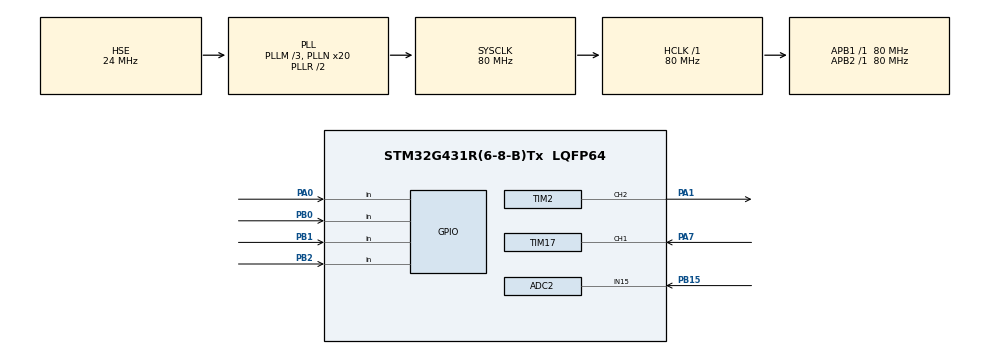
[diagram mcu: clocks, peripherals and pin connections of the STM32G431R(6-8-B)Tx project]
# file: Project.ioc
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ADC2.Channel-0\#ChannelRegularConversion=ADC_CHANNEL_15
ADC2.NbrOfConversionFlag=1
ADC2.OffsetNumber-0\#ChannelRegularConversion=ADC_OFFSET_NONE
ADC2.Rank-0\#ChannelRegularConversion=1
ADC2.SamplingTime-0\#ChannelRegularConversion=ADC_SAMPLETIME_2CYCLES_5
Mcu.Family=STM32G4
Mcu.Name=STM32G431R(6-8-B)Tx
Mcu.Package=LQFP64
NVIC.ADC1_2_IRQn=true\:0\:0\:false\:false\:true\:true\:true\:true
NVIC.PriorityGroup=NVIC_PRIORITYGROUP_4
NVIC.TIM1_TRG_COM_TIM17_IRQn=true\:0\:0\:false\:false\:true\:true\:true\:true
NVIC.TIM2_IRQn=true\:0\:0\:false\:false\:true\:true\:true\:true
NVIC.TIM6_DAC_IRQn=true\:15\:0\:true\:false\:true\:true\:true\:true
PA0.GPIO_Mode=GPIO_MODE_INPUT
PA0.GPIO_PuPd=GPIO_PULLUP
PA0.Signal=GPIO_Input
PA1.Signal=S_TIM2_CH2
PA13.Mode=Serial_Wire
PA13.Signal=SYS_JTMS-SWDIO
PA14.Mode=Serial_Wire
PA14.Signal=SYS_JTCK-SWCLK
PA7.Signal=S_TIM17_CH1
PB0.GPIO_Mode=GPIO_MODE_INPUT
PB0.GPIO_PuPd=GPIO_PULLUP
PB0.Signal=GPIO_Input
PB1.GPIO_Mode=GPIO_MODE_INPUT
PB1.GPIO_PuPd=GPIO_PULLUP
PB1.Signal=GPIO_Input
PB15.Mode=IN15-Single-Ended
PB15.Signal=ADC2_IN15
PB2.GPIO_Mode=GPIO_MODE_INPUT
PB2.GPIO_PuPd=GPIO_PULLUP
PB2.Signal=GPIO_Input
PF0-OSC_IN.Mode=HSE-External-Oscillator
PF0-OSC_IN.Signal=RCC_OSC_IN
PF1-OSC_OUT.Mode=HSE-External-Oscillator
PF1-OSC_OUT.Signal=RCC_OSC_OUT
ProjectManager.HeapSize=0x200
ProjectManager.StackSize=0x400
ProjectManager.TargetToolchain=MDK-ARM V5.32
RCC.ADC12Freq_Value=80000000
RCC.AHBFreq_Value=80000000
RCC.APB1Freq_Value=80000000
RCC.APB1TimFreq_Value=80000000
RCC.APB2Freq_Value=80000000
RCC.APB2TimFreq_Value=80000000
RCC.CortexFreq_Value=80000000
RCC.EXTERNAL_CLOCK_VALUE=12288000
RCC.HCLKFreq_Value=80000000
RCC.HSE_VALUE=24000000
RCC.HSI48_VALUE=48000000
RCC.HSI_VALUE=16000000
RCC.LSE_VALUE=32768
RCC.PLLM=RCC_PLLM_DIV3
RCC.PLLN=20
RCC.PLLSourceVirtual=RCC_PLLSOURCE_HSE
RCC.SYSCLKFreq_VALUE=80000000
RCC.SYSCLKSource=RCC_SYSCLKSOURCE_PLLCLK
RCC.USBFreq_Value=80000000
RCC.VCOOutputFreq_Value=160000000
SH.S_TIM17_CH1.0=TIM17_CH1,Input_Capture1_from_TI1
SH.S_TIM2_CH2.0=TIM2_CH2,PWM Generation2 CH2
TIM17.Channel=TIM_CHANNEL_1
TIM17.PeriodNoDither=10000-1
TIM17.Prescaler=80-1
TIM2.AutoReloadPreload=TIM_AUTORELOAD_PRELOAD_ENABLE
TIM2.Channel-PWM\ Generation2\ CH2=TIM_CHANNEL_2
TIM2.PeriodNoDither=1000-1
TIM2.Prescaler=20-1
TIM2.PulseNoDither_2=100
TIM6.PeriodNoDither=10000-1
TIM6.Prescaler=800-1
VP_SYS_VS_DBSignals.Mode=DisableDeadBatterySignals
VP_TIM17_VS_ClockSourceINT.Mode=Enable_Timer
VP_TIM2_VS_ClockSourceINT.Mode=Internal
VP_TIM6_VS_ClockSourceINT.Mode=Enable_Timer
board=custom

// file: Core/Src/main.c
/* USER CODE BEGIN Header */
/**
 ******************************************************************************
 * @file           : main.c
 * @brief          : Main program body
 ******************************************************************************
 * @attention
 *
 * Copyright (c) 2024 STMicroelectronics.
 * All rights reserved.
 *
 * This software is licensed under terms that can be found in the LICENSE file
 * in the root directory of this software component.
 * If no LICENSE file comes with this software, it is provided AS-IS.
 *
 ******************************************************************************
 */
/* USER CODE END Header */
#include "main.h"
#include "adc.h"
#include "tim.h"
#include "gpio.h"

/* USER CODE BEGIN Includes */
#include "led.h"
#include "stdio.h"
#include "lcd.h"
/* USER CODE END Includes */

/* USER CODE BEGIN PTD */
enum
{
  HIGH = 1,
  LOW = 0
} frequence_choose;

int mode = 0, choose = 0;
int R = 1, K = 1, N = 0;
float vilocity, pulse;
unsigned int f, aim_pwm = 8000;
bool lock = false, change_PWM = false;
#define PI 3.14
/* USER CODE END PTD */

/* USER CODE BEGIN PV */
void change_pulse(void)
{
  u16 arr = __HAL_TIM_GET_AUTORELOAD(&htim2);
  if (lock == false)
  {
    double v = getADC(&hadc2);
    if (v < 1)
    {
      __HAL_TIM_SET_COMPARE(&htim2, TIM_CHANNEL_2, arr / 10);
      pulse = 10;
    }
    else if (v > 3)
    {
      __HAL_TIM_SET_COMPARE(&htim2, TIM_CHANNEL_2, arr * 0.85);
      pulse = 85;
    }
    else
    {
      __HAL_TIM_SET_COMPARE(&htim2, TIM_CHANNEL_2, arr * (0.375 * v - 0.275));
      pulse = 37.5 * v - 27.5;
    }
  }
}
/* USER CODE END PV */

void SystemClock_Config(void);

/* USER CODE BEGIN 0 */
// 当触发时，100ms执行一次
void change_pwm(void)
{
  u16 arr = __HAL_TIM_GET_AUTORELOAD(&htim2);
  led_Toggle(2);
  if (frequence_choose == LOW) // 1000->500
  {
    aim_pwm += 200;
    __HAL_TIM_SET_AUTORELOAD(&htim2, 1000000 / aim_pwm);
  }
  else // 500->1000
  {
    aim_pwm -= 200;
    __HAL_TIM_SET_AUTORELOAD(&htim2, 1000000 / aim_pwm);
  }
}
/* USER CODE END 0 */

int main(void)
{
  /* USER CODE BEGIN 1 */
  u32 uwtick;
  /* USER CODE END 1 */

  /* MCU Configuration--------------------------------------------------------*/

  /* Reset of all peripherals, Initializes the Flash interface and the Systick. */
  HAL_Init();

  /* Configure the system clock */
  SystemClock_Config();

  /* Initialize all configured peripherals */
  MX_GPIO_Init();
  MX_ADC2_Init();
  MX_TIM2_Init();
  MX_TIM6_Init();
  MX_TIM17_Init();
  /* USER CODE BEGIN 2 */
  led_init();
  LCD_Init();
  LCD_Clear(Black);
  LCD_SetBackColor(Black);
  LCD_SetTextColor(White);
  /* USER CODE END 2 */

  /* Infinite loop */
  /* USER CODE BEGIN WHILE */
  HAL_TIM_Base_Start_IT(&htim6);
  HAL_TIM_PWM_Start(&htim2, TIM_CHANNEL_2);
  HAL_TIM_IC_Start_IT(&htim17, TIM_CHANNEL_1);
  while (1)
  {
    if (HAL_GPIO_ReadPin(GPIOB, GPIO_PIN_0) == 0) // B1
    {
      while (HAL_GPIO_ReadPin(GPIOB, GPIO_PIN_0) == 0)
        ;
      mode++;
      if (mode == 3)
        mode = 0;
    }
    if (HAL_GPIO_ReadPin(GPIOB, GPIO_PIN_1) == 0) // B2
    {
      while (HAL_GPIO_ReadPin(GPIOB, GPIO_PIN_1) == 0)
        ;
      if (mode == 0)
      {
        change_PWM = true;
      }
      else if (mode == 1)
      {
        if (choose == 0)
          choose = 1;
        else
          choose = 0;
      }
    }
    if (HAL_GPIO_ReadPin(GPIOB, GPIO_PIN_2) == 0) // B3
    {
      while (HAL_GPIO_ReadPin(GPIOB, GPIO_PIN_2) == 0)
        ;
      if (choose == 0)
      {
        R++;
        if (R == 11)
          R = 1;
      }
      else
      {
        K++;
        if (K == 11)
          K = 1;
      }
    }
    if (HAL_GPIO_ReadPin(GPIOA, GPIO_PIN_0) == 0) // B4
    {
      uwtick = HAL_GetTick();
      while (HAL_GPIO_ReadPin(GPIOA, GPIO_PIN_0) == 0)
      {
        while (!((SysTick->CTRL) & (1 << 16)))
          ;
        uwtick++;
      }
      if (HAL_GetTick() - uwtick < 2000) // 2秒的判断时间点
      {
        // 短按
        if (mode == 1)
        {
          if (choose == 0)
          {
            R--;
            if (R == 0)
              R = 10;
          }
          else
          {
            K--;
            if (K == 0)
              K = 10;
          }
        }
        else if (mode == 0)
        {
          lock = false;
          led_OFF(3);
        }
      }
      else
      {
        // 长按
        if (mode == 1)
        {
          if (choose == 0)
          {
            R--;
            if (R == 0)
              R = 10;
          }
          else
          {
            K--;
            if (K == 0)
              K = 10;
          }
        }
        else if (mode == 0)
        {
          lock = true;
          led_ON(3);
        }
      }
    }
    /* USER CODE END WHILE */

  }
}

void SystemClock_Config(void)
{
  RCC_OscInitTypeDef RCC_OscInitStruct = {0};
  RCC_ClkInitTypeDef RCC_ClkInitStruct = {0};

  /** Configure the main internal regulator output voltage
   */
  HAL_PWREx_ControlVoltageScaling(PWR_REGULATOR_VOLTAGE_SCALE1);

  /** Initializes the RCC Oscillators according to the specified parameters
   * in the RCC_OscInitTypeDef structure.
   */
  RCC_OscInitStruct.OscillatorType = RCC_OSCILLATORTYPE_HSE;
  RCC_OscInitStruct.HSEState = RCC_HSE_ON;
  RCC_OscInitStruct.PLL.PLLState = RCC_PLL_ON;
  RCC_OscInitStruct.PLL.PLLSource = RCC_PLLSOURCE_HSE;
  RCC_OscInitStruct.PLL.PLLM = RCC_PLLM_DIV3;
  RCC_OscInitStruct.PLL.PLLN = 20;
  RCC_OscInitStruct.PLL.PLLP = RCC_PLLP_DIV2;
  RCC_OscInitStruct.PLL.PLLQ = RCC_PLLQ_DIV2;
  RCC_OscInitStruct.PLL.PLLR = RCC_PLLR_DIV2;
  if (HAL_RCC_OscConfig(&RCC_OscInitStruct) != HAL_OK)
  {
    Error_Handler();
  }

  /** Initializes the CPU, AHB and APB buses clocks
   */
  RCC_ClkInitStruct.ClockType = RCC_CLOCKTYPE_HCLK | RCC_CLOCKTYPE_SYSCLK | RCC_CLOCKTYPE_PCLK1 | RCC_CLOCKTYPE_PCLK2;
  RCC_ClkInitStruct.SYSCLKSource = RCC_SYSCLKSOURCE_PLLCLK;
  RCC_ClkInitStruct.AHBCLKDivider = RCC_SYSCLK_DIV1;
  RCC_ClkInitStruct.APB1CLKDivider = RCC_HCLK_DIV1;
  RCC_ClkInitStruct.APB2CLKDivider = RCC_HCLK_DIV1;

  if (HAL_RCC_ClockConfig(&RCC_ClkInitStruct, FLASH_LATENCY_2) != HAL_OK)
  {
    Error_Handler();
  }
}

/* USER CODE BEGIN 4 */
char text[30];
int change_pwm_counter = 0;

void HAL_TIM_PeriodElapsedCallback(TIM_HandleTypeDef *htim)
{
  if (htim->Instance == TIM6)
  {
    if (change_PWM == true)
    {
      change_pwm();
      change_pwm_counter++;
      if (change_pwm_counter == 40)
      {
        if (frequence_choose == LOW)
        {
          frequence_choose = HIGH;
          aim_pwm = 8000;
          __HAL_TIM_SET_AUTORELOAD(&htim2, 1000000 / aim_pwm);
        }
        else
        {
          frequence_choose = LOW;
          aim_pwm = 4000;
          __HAL_TIM_SET_AUTORELOAD(&htim2, 1000000 / aim_pwm);
        }
        change_PWM = false;
        led_OFF(2);
        N++;
        change_pwm_counter = 0;
      }
    }
    if (mode == 0)
      led_ON(1);
    else
      led_OFF(1);
    if (lock == false)
    {
      change_pulse();
    }
    if (mode == 0)
    {
      LCD_DisplayStringLine(Line2, (u8 *)"        DATA    ");
      if (frequence_choose == LOW)
      {
        sprintf(text, "     M=L   ");
      }
      else
      {
        sprintf(text, "     M=H   ");
      }
      LCD_DisplayStringLine(Line4, (u8 *)text);
      sprintf(text, "     P=%d%   ", pulse);
      LCD_DisplayStringLine(Line5, (u8 *)text);
      vilocity = (f * 2 * PI * R) / (100 * K);
      sprintf(text, "     V=%.1f      ", vilocity);
      LCD_DisplayStringLine(Line6, (u8 *)text);
    }
    else if (mode == 1)
    {
      LCD_DisplayStringLine(Line2, (u8 *)"        PARA    ");
      sprintf(text, "     R=%d      ", R);
      LCD_DisplayStringLine(Line4, (u8 *)text);
      sprintf(text, "     K=%d      ", K);
      LCD_DisplayStringLine(Line5, (u8 *)text);
      LCD_DisplayStringLine(Line6, (u8 *)"                  ");
    }
    else if (mode == 2)
    {
      LCD_DisplayStringLine(Line2, (u8 *)"        RECD    ");
      sprintf(text, "     N=%d      ", N);
      LCD_DisplayStringLine(Line4, (u8 *)text);
      sprintf(text, "     MH=502.4      ");
      LCD_DisplayStringLine(Line5, (u8 *)text);
      sprintf(text, "     ML=251.2      ");
      LCD_DisplayStringLine(Line6, (u8 *)text);
    }
  }
}

void HAL_TIM_IC_CaptureCallback(TIM_HandleTypeDef *htim)
{
  if (htim->Instance == TIM17)
  {
    if (htim->Channel == HAL_TIM_ACTIVE_CHANNEL_1)
    {
      u16 CCR = HAL_TIM_ReadCapturedValue(&htim17, TIM_CHANNEL_1) + 1;
      __HAL_TIM_SetCounter(&htim17, 0);
      f = 1000000 / CCR;
      HAL_TIM_IC_Start_IT(&htim17, TIM_CHANNEL_1);
    }
  }
}
/* USER CODE END 4 */

void Error_Handler(void)
{
  __disable_irq();
  while (1)
  {
  }
}
